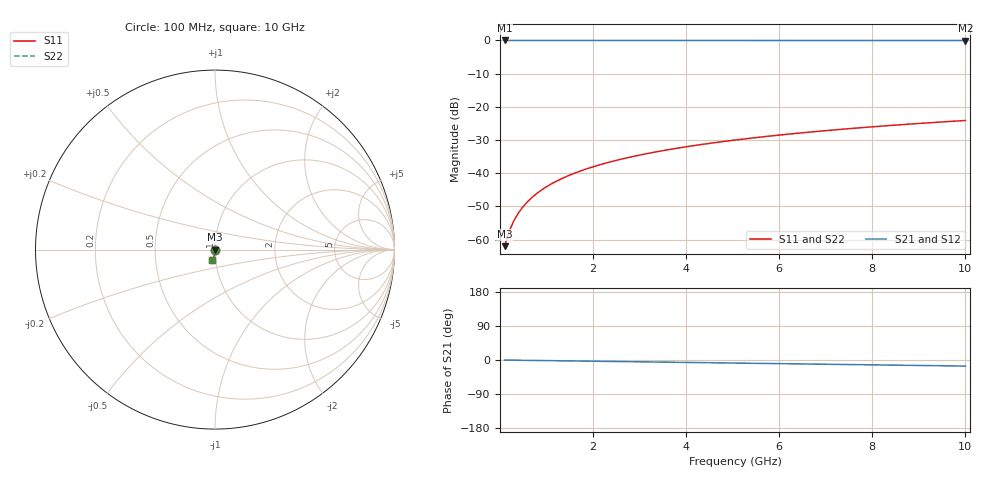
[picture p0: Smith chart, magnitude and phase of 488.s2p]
# Hz S RI R 50.00
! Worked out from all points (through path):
!   100 points, 100 MHz to 10 GHz, reference 50 ohm
!   highest |S21| = 0.00 dB at 100 MHz (marker M1); lowest = 0.0 dB at 10 GHz (marker M2)
!   group delay of S21, straight-line fit = 4.46 ps
!   lowest |S11| = -62.0 dB at 100 MHz (marker M3), VSWR 1.00, Z = 50 - j0.0626 ohm
!   |S11| at or under -10 dB: start of sweep to end of sweep
!   |S22| runs from -62.0 to -24.1 dB; largest |S21 - S12| = 0
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1e8  0.000495 -0.000625  0.9995 -0.00278  0.9995 -0.00278  0.000495 -0.000625
2e8  0.000492 -0.00125  0.9995 -0.00555  0.9995 -0.00555  0.000492 -0.00125
3e8  0.000484 -0.00187  0.9995 -0.00833  0.9995 -0.00833  0.000484 -0.00187
4e8  0.000472 -0.0025  0.9994 -0.0111  0.9994 -0.0111  0.000472 -0.0025
5e8  0.000456 -0.00313  0.9994 -0.0139  0.9994 -0.0139  0.000456 -0.00313
6e8  0.000437 -0.00375  0.9993 -0.0167  0.9993 -0.0167  0.000437 -0.00375
7e8  0.000415 -0.00438  0.9993 -0.0194  0.9993 -0.0194  0.000415 -0.00438
8e8  0.000388 -0.005  0.9992 -0.0222  0.9992 -0.0222  0.000388 -0.005
9e8  0.000358 -0.00563  0.9991 -0.025  0.9991 -0.025  0.000358 -0.00563
1.1e9  0.000288 -0.00688  0.999 -0.0305  0.999 -0.0305  0.000288 -0.00688
1.4e9  0.000156 -0.00875  0.9987 -0.0389  0.9987 -0.0389  0.000156 -0.00875
1.8e9  -6.96e-05 -0.0113  0.9981 -0.05  0.9981 -0.05  -6.96e-05 -0.0113
2.1e9  -0.000276 -0.0131  0.9977 -0.0583  0.9977 -0.0583  -0.000276 -0.0131
2.5e9  -0.000599 -0.0156  0.9969 -0.0694  0.9969 -0.0694  -0.000599 -0.0156
2.9e9  -0.000979 -0.0181  0.996 -0.0805  0.996 -0.0805  -0.000979 -0.0181
3.4e9  -0.00153 -0.0212  0.9947 -0.0944  0.9947 -0.0944  -0.00153 -0.0212
4.2e9  -0.0026 -0.0262  0.9922 -0.1166  0.9922 -0.1166  -0.0026 -0.0262
5.1e9  -0.00406 -0.0317  0.9888 -0.1415  0.9888 -0.1415  -0.00406 -0.0317
5.9e9  -0.0056 -0.0365  0.9852 -0.1636  0.9852 -0.1636  -0.0056 -0.0365
6.7e9  -0.00736 -0.0413  0.981 -0.1857  0.981 -0.1857  -0.00736 -0.0413
8.4e9  -0.0118 -0.0511  0.9705 -0.2323  0.9705 -0.2323  -0.0118 -0.0511
1e10  -0.0168 -0.06  0.9584 -0.2758  0.9584 -0.2758  -0.0168 -0.06
